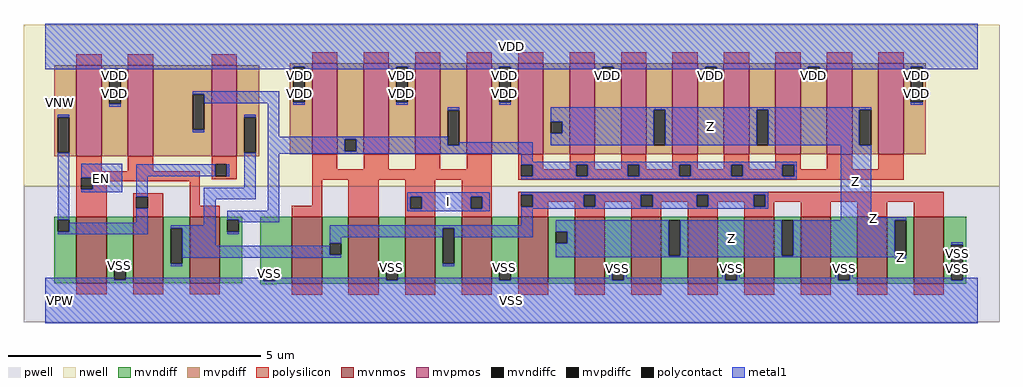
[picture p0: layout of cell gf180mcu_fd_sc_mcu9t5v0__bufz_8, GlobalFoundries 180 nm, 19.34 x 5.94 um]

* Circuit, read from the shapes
.subckt gf180mcu_fd_sc_mcu9t5v0__bufz_8 EN I Z VDD VNW VPW VSS
XM1 VSS EN n1 VPW nfet_06v0 w=1.32u l=0.6u
XM2 n2 n1 VSS VPW nfet_06v0 w=1.32u l=0.6u
XM3 n3 EN n2 VPW nfet_06v0 w=1.32u l=0.6u
XM4 n2 I VSS VPW nfet_06v0 w=1.32u l=0.6u m=4
XM5 Z n2 VSS VPW nfet_06v0 w=1.32u l=0.6u m=8
XM6 VDD EN n1 VNW pfet_06v0 w=1.8u l=0.5u
XM7 n3 EN VDD VNW pfet_06v0 w=1.8u l=0.5u
XM8 n2 n1 n3 VNW pfet_06v0 w=1.8u l=0.5u
XM9 n3 I VDD VNW pfet_06v0 w=1.8u l=0.5u m=4
XM10 Z n3 VDD VNW pfet_06v0 w=1.8u l=0.5u m=8
.ends

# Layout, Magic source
magic
tech gf180mcuD
magscale 1 10
<< nwell >>
rect -86 453 3782 1094
<< pwell >>
rect -86 -86 3782 453
<< mvnmos >>
rect 124 69 244 333
rect 348 69 468 333
rect 572 69 692 333
rect 978 68 1098 332
rect 1202 68 1322 332
rect 1426 68 1546 332
rect 1650 68 1770 332
rect 1874 68 1994 332
rect 2098 68 2218 332
rect 2322 68 2442 332
rect 2546 68 2666 332
rect 2770 68 2890 332
rect 2994 68 3114 332
rect 3218 68 3338 332
rect 3442 68 3562 332
<< mvpmos >>
rect 124 573 224 933
rect 328 573 428 933
rect 660 573 760 933
rect 1058 580 1158 940
rect 1262 580 1362 940
rect 1466 580 1566 940
rect 1670 580 1770 940
rect 1874 580 1974 940
rect 2078 580 2178 940
rect 2282 580 2382 940
rect 2486 580 2586 940
rect 2690 580 2790 940
rect 2894 580 2994 940
rect 3098 580 3198 940
rect 3302 580 3402 940
<< mvndiff >>
rect 36 320 124 333
rect 36 274 49 320
rect 95 274 124 320
rect 36 69 124 274
rect 244 128 348 333
rect 244 82 273 128
rect 319 82 348 128
rect 244 69 348 82
rect 468 287 572 333
rect 468 147 497 287
rect 543 147 572 287
rect 468 69 572 147
rect 692 320 780 333
rect 692 274 721 320
rect 767 274 780 320
rect 692 69 780 274
rect 852 125 978 332
rect 852 79 865 125
rect 911 79 978 125
rect 852 68 978 79
rect 1098 228 1202 332
rect 1098 182 1127 228
rect 1173 182 1202 228
rect 1098 68 1202 182
rect 1322 127 1426 332
rect 1322 81 1351 127
rect 1397 81 1426 127
rect 1322 68 1426 81
rect 1546 287 1650 332
rect 1546 147 1575 287
rect 1621 147 1650 287
rect 1546 68 1650 147
rect 1770 127 1874 332
rect 1770 81 1799 127
rect 1845 81 1874 127
rect 1770 68 1874 81
rect 1994 273 2098 332
rect 1994 227 2023 273
rect 2069 227 2098 273
rect 1994 68 2098 227
rect 2218 127 2322 332
rect 2218 81 2247 127
rect 2293 81 2322 127
rect 2218 68 2322 81
rect 2442 319 2546 332
rect 2442 179 2471 319
rect 2517 179 2546 319
rect 2442 68 2546 179
rect 2666 127 2770 332
rect 2666 81 2695 127
rect 2741 81 2770 127
rect 2666 68 2770 81
rect 2890 319 2994 332
rect 2890 179 2919 319
rect 2965 179 2994 319
rect 2890 68 2994 179
rect 3114 127 3218 332
rect 3114 81 3143 127
rect 3189 81 3218 127
rect 3114 68 3218 81
rect 3338 319 3442 332
rect 3338 179 3367 319
rect 3413 179 3442 319
rect 3338 68 3442 179
rect 3562 221 3650 332
rect 3562 81 3591 221
rect 3637 81 3650 221
rect 3562 68 3650 81
rect 852 66 918 68
<< mvpdiff >>
rect 36 726 124 933
rect 36 586 49 726
rect 95 586 124 726
rect 36 573 124 586
rect 224 920 328 933
rect 224 780 253 920
rect 299 780 328 920
rect 224 573 328 780
rect 428 818 660 933
rect 428 678 585 818
rect 631 678 660 818
rect 428 573 660 678
rect 760 726 848 933
rect 760 586 789 726
rect 835 586 848 726
rect 760 573 848 586
rect 970 927 1058 940
rect 970 787 983 927
rect 1029 787 1058 927
rect 970 580 1058 787
rect 1158 639 1262 940
rect 1158 593 1187 639
rect 1233 593 1262 639
rect 1158 580 1262 593
rect 1362 927 1466 940
rect 1362 787 1391 927
rect 1437 787 1466 927
rect 1362 580 1466 787
rect 1566 755 1670 940
rect 1566 615 1595 755
rect 1641 615 1670 755
rect 1566 580 1670 615
rect 1770 927 1874 940
rect 1770 787 1799 927
rect 1845 787 1874 927
rect 1770 580 1874 787
rect 1974 709 2078 940
rect 1974 663 2003 709
rect 2049 663 2078 709
rect 1974 580 2078 663
rect 2178 927 2282 940
rect 2178 881 2207 927
rect 2253 881 2282 927
rect 2178 580 2282 881
rect 2382 756 2486 940
rect 2382 616 2411 756
rect 2457 616 2486 756
rect 2382 580 2486 616
rect 2586 927 2690 940
rect 2586 881 2615 927
rect 2661 881 2690 927
rect 2586 580 2690 881
rect 2790 756 2894 940
rect 2790 616 2819 756
rect 2865 616 2894 756
rect 2790 580 2894 616
rect 2994 927 3098 940
rect 2994 881 3023 927
rect 3069 881 3098 927
rect 2994 580 3098 881
rect 3198 756 3302 940
rect 3198 616 3227 756
rect 3273 616 3302 756
rect 3198 580 3302 616
rect 3402 927 3490 940
rect 3402 787 3431 927
rect 3477 787 3490 927
rect 3402 580 3490 787
<< mvndiffc >>
rect 49 274 95 320
rect 273 82 319 128
rect 497 147 543 287
rect 721 274 767 320
rect 865 79 911 125
rect 1127 182 1173 228
rect 1351 81 1397 127
rect 1575 147 1621 287
rect 1799 81 1845 127
rect 2023 227 2069 273
rect 2247 81 2293 127
rect 2471 179 2517 319
rect 2695 81 2741 127
rect 2919 179 2965 319
rect 3143 81 3189 127
rect 3367 179 3413 319
rect 3591 81 3637 221
<< mvpdiffc >>
rect 49 586 95 726
rect 253 780 299 920
rect 585 678 631 818
rect 789 586 835 726
rect 983 787 1029 927
rect 1187 593 1233 639
rect 1391 787 1437 927
rect 1595 615 1641 755
rect 1799 787 1845 927
rect 2003 663 2049 709
rect 2207 881 2253 927
rect 2411 616 2457 756
rect 2615 881 2661 927
rect 2819 616 2865 756
rect 3023 881 3069 927
rect 3227 616 3273 756
rect 3431 787 3477 927
<< polysilicon >>
rect 124 933 224 977
rect 328 933 428 977
rect 660 933 760 977
rect 1058 940 1158 984
rect 1262 940 1362 984
rect 1466 940 1566 984
rect 1670 940 1770 984
rect 1874 940 1974 984
rect 2078 940 2178 984
rect 2282 940 2382 984
rect 2486 940 2586 984
rect 2690 940 2790 984
rect 2894 940 2994 984
rect 3098 940 3198 984
rect 3302 940 3402 984
rect 124 513 224 573
rect 328 513 428 573
rect 660 540 760 573
rect 124 487 612 513
rect 124 441 142 487
rect 188 473 612 487
rect 660 494 673 540
rect 719 494 760 540
rect 660 481 760 494
rect 1058 520 1158 580
rect 1262 520 1362 580
rect 1466 520 1566 580
rect 1670 520 1770 580
rect 188 441 244 473
rect 124 333 244 441
rect 348 412 468 425
rect 348 366 361 412
rect 407 366 468 412
rect 348 333 468 366
rect 572 377 612 473
rect 1058 480 1770 520
rect 1874 539 1974 580
rect 1874 493 1887 539
rect 1933 520 1974 539
rect 2078 539 2178 580
rect 2078 520 2105 539
rect 1933 493 2105 520
rect 2151 520 2178 539
rect 2282 539 2382 580
rect 2282 520 2309 539
rect 2151 493 2309 520
rect 2355 520 2382 539
rect 2486 539 2586 580
rect 2486 520 2513 539
rect 2355 493 2513 520
rect 2559 520 2586 539
rect 2690 539 2790 580
rect 2690 520 2718 539
rect 2559 493 2718 520
rect 2764 520 2790 539
rect 2894 539 2994 580
rect 2894 520 2922 539
rect 2764 493 2922 520
rect 2968 520 2994 539
rect 3098 520 3198 580
rect 3302 520 3402 580
rect 2968 493 3402 520
rect 1874 480 3402 493
rect 572 333 692 377
rect 1058 376 1098 480
rect 978 332 1098 376
rect 1202 332 1322 480
rect 1426 411 1546 480
rect 1426 365 1446 411
rect 1492 365 1546 411
rect 1426 332 1546 365
rect 1650 411 1770 480
rect 1650 365 1686 411
rect 1732 365 1770 411
rect 1650 332 1770 365
rect 1874 419 3562 432
rect 1874 373 1887 419
rect 1933 392 2134 419
rect 1933 373 1994 392
rect 1874 332 1994 373
rect 2098 373 2134 392
rect 2180 392 2361 419
rect 2180 373 2218 392
rect 2098 332 2218 373
rect 2322 373 2361 392
rect 2407 392 2582 419
rect 2407 373 2442 392
rect 2322 332 2442 373
rect 2546 373 2582 392
rect 2628 392 2808 419
rect 2628 373 2666 392
rect 2546 332 2666 373
rect 2770 373 2808 392
rect 2854 392 3562 419
rect 2854 373 2890 392
rect 2770 332 2890 373
rect 2994 332 3114 392
rect 3218 332 3338 392
rect 3442 332 3562 392
rect 124 25 244 69
rect 348 25 468 69
rect 572 25 692 69
rect 978 24 1098 68
rect 1202 24 1322 68
rect 1426 24 1546 68
rect 1650 24 1770 68
rect 1874 24 1994 68
rect 2098 24 2218 68
rect 2322 24 2442 68
rect 2546 24 2666 68
rect 2770 24 2890 68
rect 2994 24 3114 68
rect 3218 24 3338 68
rect 3442 24 3562 68
<< polycontact >>
rect 142 441 188 487
rect 673 494 719 540
rect 361 366 407 412
rect 1887 493 1933 539
rect 2105 493 2151 539
rect 2309 493 2355 539
rect 2513 493 2559 539
rect 2718 493 2764 539
rect 2922 493 2968 539
rect 1446 365 1492 411
rect 1686 365 1732 411
rect 1887 373 1933 419
rect 2134 373 2180 419
rect 2361 373 2407 419
rect 2582 373 2628 419
rect 2808 373 2854 419
<< metal1 >>
rect 0 927 3696 1098
rect 0 920 983 927
rect 0 918 253 920
rect 299 918 983 920
rect 253 769 299 780
rect 585 818 927 829
rect 49 726 95 737
rect 631 783 927 818
rect 585 667 631 678
rect 789 726 835 737
rect 49 320 95 586
rect 142 487 306 542
rect 188 441 306 487
rect 142 430 306 441
rect 361 494 673 540
rect 719 494 730 540
rect 361 412 407 494
rect 789 448 835 586
rect 361 309 407 366
rect 95 274 407 309
rect 629 402 835 448
rect 881 650 927 783
rect 1029 918 1391 927
rect 983 776 1029 787
rect 1437 918 1799 927
rect 1391 776 1437 787
rect 1845 918 2207 927
rect 2253 918 2615 927
rect 2207 870 2253 881
rect 2661 918 3023 927
rect 2615 870 2661 881
rect 3069 918 3431 927
rect 3023 870 3069 881
rect 1799 776 1845 787
rect 3477 918 3696 927
rect 3431 776 3477 787
rect 1595 755 1641 766
rect 881 639 1595 650
rect 881 593 1187 639
rect 1233 615 1595 639
rect 2003 756 3273 767
rect 2003 709 2411 756
rect 2049 663 2411 709
rect 1641 615 1933 628
rect 2003 616 2411 663
rect 2457 616 2819 756
rect 2865 616 3227 756
rect 1233 593 1933 615
rect 881 582 1933 593
rect 629 298 675 402
rect 881 356 927 582
rect 1887 550 1933 582
rect 1887 539 2979 550
rect 1933 493 2105 539
rect 2151 493 2309 539
rect 2355 493 2513 539
rect 2559 493 2718 539
rect 2764 493 2922 539
rect 2968 493 2979 539
rect 1887 482 2979 493
rect 49 263 407 274
rect 497 287 675 298
rect 543 217 675 287
rect 721 320 927 356
rect 1435 411 1762 430
rect 1435 365 1446 411
rect 1492 365 1686 411
rect 1732 365 1762 411
rect 1435 354 1762 365
rect 1887 419 2865 430
rect 1933 373 2134 419
rect 2180 373 2361 419
rect 2407 373 2582 419
rect 2628 373 2808 419
rect 2854 373 2865 419
rect 1887 365 2865 373
rect 767 310 927 320
rect 1887 298 1933 365
rect 3152 330 3273 616
rect 3152 319 3413 330
rect 721 263 767 274
rect 1127 287 1933 298
rect 1127 252 1575 287
rect 1127 228 1173 252
rect 543 182 1127 217
rect 543 171 1173 182
rect 273 128 319 139
rect 497 136 543 147
rect 1621 252 1933 287
rect 2023 273 2471 319
rect 2069 227 2471 273
rect 2023 179 2471 227
rect 2517 179 2919 319
rect 2965 179 3367 319
rect 2023 173 3413 179
rect 3367 168 3413 173
rect 3591 221 3637 232
rect 0 82 273 90
rect 1351 127 1397 138
rect 1575 136 1621 147
rect 854 90 865 125
rect 319 82 865 90
rect 0 79 865 82
rect 911 90 922 125
rect 911 81 1351 90
rect 1799 127 1845 138
rect 1397 81 1799 90
rect 2236 90 2247 127
rect 1845 81 2247 90
rect 2293 90 2304 127
rect 2684 90 2695 127
rect 2293 81 2695 90
rect 2741 90 2752 127
rect 3132 90 3143 127
rect 2741 81 3143 90
rect 3189 90 3200 127
rect 3189 81 3591 90
rect 3637 81 3696 90
rect 911 79 3696 81
rect 0 -90 3696 79
<< labels >>
flabel metal1 s 142 430 306 542 0 FreeSans 200 0 0 0 EN
port 1 nsew default input
flabel metal1 s 1435 354 1762 430 0 FreeSans 200 0 0 0 I
port 2 nsew default input
flabel metal1 s 0 918 3696 1098 0 FreeSans 200 0 0 0 VDD
port 4 nsew power bidirectional abutment
flabel metal1 s 3591 139 3637 232 0 FreeSans 200 0 0 0 VSS
port 7 nsew ground bidirectional abutment
flabel metal1 s 2003 616 3273 767 0 FreeSans 200 0 0 0 Z
port 3 nsew default output
flabel nwell s 10 734 110 834 0 FreeSans 400 0 0 0 VNW
port 5 nsew power bidirectional
flabel pwell s 10 -50 110 50 0 FreeSans 400 0 0 0 VPW
port 6 nsew ground bidirectional
rlabel metal1 s 3152 330 3273 616 1 Z
port 3 nsew default output
rlabel metal1 s 3152 319 3413 330 1 Z
port 3 nsew default output
rlabel metal1 s 2023 173 3413 319 1 Z
port 3 nsew default output
rlabel metal1 s 3367 168 3413 173 1 Z
port 3 nsew default output
rlabel metal1 s 3431 870 3477 918 1 VDD
port 4 nsew power bidirectional abutment
rlabel metal1 s 3023 870 3069 918 1 VDD
port 4 nsew power bidirectional abutment
rlabel metal1 s 2615 870 2661 918 1 VDD
port 4 nsew power bidirectional abutment
rlabel metal1 s 2207 870 2253 918 1 VDD
port 4 nsew power bidirectional abutment
rlabel metal1 s 1799 870 1845 918 1 VDD
port 4 nsew power bidirectional abutment
rlabel metal1 s 1391 870 1437 918 1 VDD
port 4 nsew power bidirectional abutment
rlabel metal1 s 983 870 1029 918 1 VDD
port 4 nsew power bidirectional abutment
rlabel metal1 s 253 870 299 918 1 VDD
port 4 nsew power bidirectional abutment
rlabel metal1 s 3431 776 3477 870 1 VDD
port 4 nsew power bidirectional abutment
rlabel metal1 s 1799 776 1845 870 1 VDD
port 4 nsew power bidirectional abutment
rlabel metal1 s 1391 776 1437 870 1 VDD
port 4 nsew power bidirectional abutment
rlabel metal1 s 983 776 1029 870 1 VDD
port 4 nsew power bidirectional abutment
rlabel metal1 s 253 776 299 870 1 VDD
port 4 nsew power bidirectional abutment
rlabel metal1 s 253 769 299 776 1 VDD
port 4 nsew power bidirectional abutment
rlabel metal1 s 3591 138 3637 139 1 VSS
port 7 nsew ground bidirectional abutment
rlabel metal1 s 273 138 319 139 1 VSS
port 7 nsew ground bidirectional abutment
rlabel metal1 s 3591 127 3637 138 1 VSS
port 7 nsew ground bidirectional abutment
rlabel metal1 s 1799 127 1845 138 1 VSS
port 7 nsew ground bidirectional abutment
rlabel metal1 s 1351 127 1397 138 1 VSS
port 7 nsew ground bidirectional abutment
rlabel metal1 s 273 127 319 138 1 VSS
port 7 nsew ground bidirectional abutment
rlabel metal1 s 3591 125 3637 127 1 VSS
port 7 nsew ground bidirectional abutment
rlabel metal1 s 3132 125 3200 127 1 VSS
port 7 nsew ground bidirectional abutment
rlabel metal1 s 2684 125 2752 127 1 VSS
port 7 nsew ground bidirectional abutment
rlabel metal1 s 2236 125 2304 127 1 VSS
port 7 nsew ground bidirectional abutment
rlabel metal1 s 1799 125 1845 127 1 VSS
port 7 nsew ground bidirectional abutment
rlabel metal1 s 1351 125 1397 127 1 VSS
port 7 nsew ground bidirectional abutment
rlabel metal1 s 273 125 319 127 1 VSS
port 7 nsew ground bidirectional abutment
rlabel metal1 s 3591 90 3637 125 1 VSS
port 7 nsew ground bidirectional abutment
rlabel metal1 s 3132 90 3200 125 1 VSS
port 7 nsew ground bidirectional abutment
rlabel metal1 s 2684 90 2752 125 1 VSS
port 7 nsew ground bidirectional abutment
rlabel metal1 s 2236 90 2304 125 1 VSS
port 7 nsew ground bidirectional abutment
rlabel metal1 s 1799 90 1845 125 1 VSS
port 7 nsew ground bidirectional abutment
rlabel metal1 s 1351 90 1397 125 1 VSS
port 7 nsew ground bidirectional abutment
rlabel metal1 s 854 90 922 125 1 VSS
port 7 nsew ground bidirectional abutment
rlabel metal1 s 273 90 319 125 1 VSS
port 7 nsew ground bidirectional abutment
rlabel metal1 s 0 -90 3696 90 1 VSS
port 7 nsew ground bidirectional abutment
<< properties >>
string FIXED_BBOX 0 0 3696 1008
string GDS_END 1356718
string GDS_FILE $PDKPATH/libs.ref/gf180mcu_fd_sc_mcu9t5v0/gds/gf180mcu_fd_sc_mcu9t5v0.gds
string GDS_START 1348266
string LEFclass core
string LEFsite GF018hv5v_green_sc9
string LEFsymmetry X Y
<< end >>
